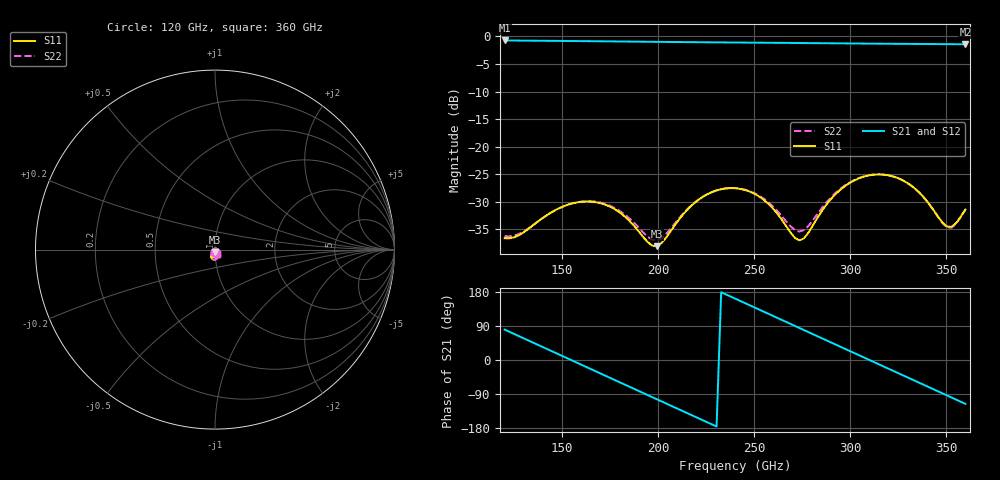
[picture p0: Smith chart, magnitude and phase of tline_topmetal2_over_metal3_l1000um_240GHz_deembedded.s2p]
! Created with skrf 2.2.0 (http://scikit-rf.org).
# GHz S DB R 50.0
! Port[1] = P1
! Port[2] = P2
!freq dBS11 angS11 dBS21 angS21 dBS12 angS12 dBS22 angS22
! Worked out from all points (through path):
!   101 points, 120 GHz to 360 GHz, reference 50 ohm
!   highest |S21| = -0.74 dB at 120 GHz (marker M1); lowest = -1.4 dB at 360 GHz (marker M2)
!   group delay of S21, straight-line fit = 6.43 ps
!   lowest |S11| = -38.0 dB at 199.2 GHz (marker M3), VSWR 1.03, Z = 50 - j1.25 ohm
!   |S11| at or under -10 dB: start of sweep to end of sweep
!   |S22| runs from -37.0 to -25.0 dB; largest |S21 - S12| = 1e-13
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120  -36.61 -90.8  -0.74 80.2  -0.74 80.2  -36.21 -91.2
129.6  -35.62 -76.5  -0.77 58.0  -0.77 58.0  -35.46 -77.6
141.6  -32.52 -74.6  -0.80 30.2  -0.80 30.2  -32.52 -74.5
151.2  -30.74 -83.5  -0.83 7.9  -0.83 7.9  -30.74 -82.5
160.8  -29.97 -96.0  -0.86 -14.4  -0.86 -14.4  -29.92 -94.3
170.4  -30.30 -109.3  -0.89 -36.6  -0.89 -36.6  -30.17 -107.0
182.4  -32.60 -122.0  -0.93 -64.5  -0.93 -64.5  -32.26 -118.8
199.2  -38.04 -91.1  -0.99 -103.4  -0.99 -103.4  -37.00 -92.6
201.6  -37.53 -80.7  -1.00 -108.9  -1.00 -108.9  -36.66 -83.6
220.8  -29.67 -70.6  -1.06 -153.4  -1.06 -153.4  -29.63 -71.7
230.4  -27.93 -84.3  -1.09 -175.6  -1.09 -175.6  -27.92 -84.2
240  -27.54 -99.6  -1.11 162.2  -1.11 162.2  -27.50 -98.6
261.6  -31.94 -124.8  -1.17 112.2  -1.17 112.2  -31.50 -120.5
273.6  -36.99 -92.9  -1.20 84.4  -1.20 84.4  -35.40 -93.0
280.8  -34.14 -62.5  -1.22 67.7  -1.22 67.7  -33.24 -68.2
290.4  -29.33 -59.7  -1.25 45.4  -1.25 45.4  -29.05 -64.2
302.4  -26.07 -74.7  -1.29 17.7  -1.29 17.7  -25.98 -77.6
312  -25.09 -90.2  -1.32 -4.6  -1.32 -4.6  -25.05 -92.4
321.6  -25.34 -105.8  -1.34 -26.8  -1.34 -26.8  -25.32 -107.5
336  -28.32 -124.0  -1.38 -60.1  -1.38 -60.1  -28.33 -125.3
350.4  -34.48 -101.1  -1.41 -93.5  -1.41 -93.5  -34.63 -102.0
360  -31.38 -64.1  -1.43 -115.8  -1.43 -115.8  -31.47 -63.9
